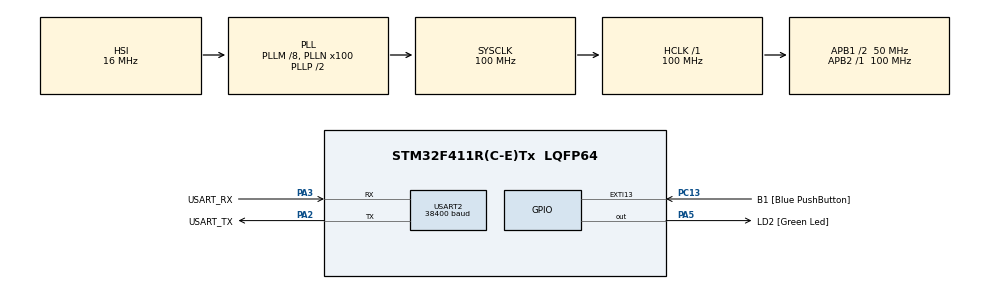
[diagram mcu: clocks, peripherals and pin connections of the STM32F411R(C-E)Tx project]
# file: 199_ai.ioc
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Mcu.Family=STM32F4
Mcu.Name=STM32F411R(C-E)Tx
Mcu.Package=LQFP64
NVIC.PriorityGroup=NVIC_PRIORITYGROUP_0
PA13.GPIO_Label=TMS
PA13.Mode=Serial_Wire
PA13.Signal=SYS_JTMS-SWDIO
PA14.GPIO_Label=TCK
PA14.Mode=Serial_Wire
PA14.Signal=SYS_JTCK-SWCLK
PA2.GPIO_Label=USART_TX
PA2.Mode=Asynchronous
PA2.Signal=USART2_TX
PA3.GPIO_Label=USART_RX
PA3.Mode=Asynchronous
PA3.Signal=USART2_RX
PA5.GPIO_Label=LD2 [Green Led]
PA5.Signal=GPIO_Output
PB3.GPIO_Label=SWO
PB3.Signal=SYS_JTDO-SWO
PC13-ANTI_TAMP.GPIO_Label=B1 [Blue PushButton]
PC13-ANTI_TAMP.GPIO_ModeDefaultEXTI=GPIO_MODE_IT_FALLING
PC13-ANTI_TAMP.Signal=GPXTI13
PC14-OSC32_IN.Mode=LSE-External-Oscillator
PC14-OSC32_IN.Signal=RCC_OSC32_IN
PC15-OSC32_OUT.Mode=LSE-External-Oscillator
PC15-OSC32_OUT.Signal=RCC_OSC32_OUT
PH0\ -\ OSC_IN.Mode=HSE-External-Clock-Source
PH0\ -\ OSC_IN.Signal=RCC_OSC_IN
PH1\ -\ OSC_OUT.Mode=HSE-External-Clock-Source
PH1\ -\ OSC_OUT.Signal=RCC_OSC_OUT
ProjectManager.HeapSize=0x800
ProjectManager.StackSize=0x800
ProjectManager.TargetToolchain=STM32CubeIDE
RCC.48MHZClocksFreq_Value=28571428.57142857
RCC.AHBFreq_Value=100000000
RCC.APB1CLKDivider=RCC_HCLK_DIV2
RCC.APB1Freq_Value=50000000
RCC.APB1TimFreq_Value=100000000
RCC.APB2Freq_Value=100000000
RCC.APB2TimFreq_Value=100000000
RCC.CortexFreq_Value=100000000
RCC.FLatency-AdvancedSettings=FLASH_LATENCY_3
RCC.HCLKFreq_Value=100000000
RCC.HSE_VALUE=8000000
RCC.HSI_VALUE=16000000
RCC.PLLM=8
RCC.PLLMUL=RCC_PLL_MUL9
RCC.PLLN=100
RCC.PLLQ=7
RCC.RCC_PLLsource_Clock_Source_FROM_HSE=RCC_HSE_PREDIV_DIV2
RCC.SYSCLKFreq_VALUE=100000000
RCC.SYSCLKSource=RCC_SYSCLKSOURCE_PLLCLK
RCC.SYSCLKSourceVirtual=RCC_SYSCLKSOURCE_PLLCLK
RCC.VCOOutputFreq_Value=200000000
STMicroelectronics.X-CUBE-AI.10.2.0.ActivationBufferSizeList=828,828,828,828,828,828,828,828,1828,9512
STMicroelectronics.X-CUBE-AI.10.2.0.ActivationBuffers=pool0;pool0;pool0;pool0;pool0;pool0;pool0;pool0;pool0;pool0
STMicroelectronics.X-CUBE-AI.10.2.0.ActivationNames=pool0
STMicroelectronics.X-CUBE-AI.10.2.0.ActivationSizes=AI_CLF_SVC_DATA_ACTIVATION_1_SIZE
STMicroelectronics.X-CUBE-AI.10.2.0.HeapSize=0x800
STMicroelectronics.X-CUBE-AI.10.2.0.InternalRamActivationBufferMaxSize=AI_CLF_SVC_DATA_ACTIVATIONS_SIZE
STMicroelectronics.X-CUBE-AI.10.2.0.LatestDirectoryUsed-305259f2fd37ff8008e00a22df27e67728cca710dc6ef4e3d571cc33ada98516=/Users/moreypiatos/clf_models
STMicroelectronics.X-CUBE-AI.10.2.0.LatestDirectoryUsed-3b9432cef57333e2fce42645de9fa6accc22cd3370c43e91af8a09cc2e12b6d0=/Users/moreypiatos/calib_models
STMicroelectronics.X-CUBE-AI.10.2.0.LatestDirectoryUsed-6ca1935a49a4da6e01bf238fb27ecaf26e8ca2d9e389be3823a9b33aaacc7297=/Users/moreypiatos/clf_models
STMicroelectronics.X-CUBE-AI.10.2.0.LatestDirectoryUsed-7671ea12f1d04baeb240033d8f5cd9409b01ff86af3cf0a621d321669e09001b=/Users/moreypiatos/calib_models
STMicroelectronics.X-CUBE-AI.10.2.0.LatestDirectoryUsed-7d43070af29f996a0a2170734140e68769b23ad1afede97f22b931777e6c3852=/Users/moreypiatos/calib_models
STMicroelectronics.X-CUBE-AI.10.2.0.LatestDirectoryUsed-9e236fa1b805f769fb9c70331a6bc76a15f23170d1950d0cced9c493874ee895=/Users/moreypiatos/calib_models
STMicroelectronics.X-CUBE-AI.10.2.0.LatestDirectoryUsed-ab577c9bdfed1ba00724bdd21e1b13f1ba22613db02f03b8adc4d8ee03ad864e=/Users/moreypiatos/calib_models
STMicroelectronics.X-CUBE-AI.10.2.0.LatestDirectoryUsed-dea79e7e62a325472eb47c30a879b901656b1d966f9a78109aa8b224cbf98a9d=/Users/moreypiatos/calib_models
STMicroelectronics.X-CUBE-AI.10.2.0.LatestDirectoryUsed-df82797f878501d5734eb837a36a36d91eae67c62164e25bef60e4b155da9e3b=/Users/moreypiatos/calib_models
STMicroelectronics.X-CUBE-AI.10.2.0.LatestDirectoryUsed-f4f45892b08308412d9f5e841690e3b6e5c3a98e51e2c46ba08ce80a98d34c7c=/Users/moreypiatos/calib_models
STMicroelectronics.X-CUBE-AI.10.2.0.MaximumNumberOfInputLayer=1
STMicroelectronics.X-CUBE-AI.10.2.0.MaximumNumberOfOutputLayer=1
STMicroelectronics.X-CUBE-AI.10.2.0.MaximumSizeOfInputLayer=1
STMicroelectronics.X-CUBE-AI.10.2.0.MaximumSizeOfOutputLayer=1,1
STMicroelectronics.X-CUBE-AI.10.2.0.ModelActualCompression-305259f2fd37ff8008e00a22df27e67728cca710dc6ef4e3d571cc33ada98516=0.0
STMicroelectronics.X-CUBE-AI.10.2.0.ModelActualCompression-3b9432cef57333e2fce42645de9fa6accc22cd3370c43e91af8a09cc2e12b6d0=0.0
STMicroelectronics.X-CUBE-AI.10.2.0.ModelActualCompression-6ca1935a49a4da6e01bf238fb27ecaf26e8ca2d9e389be3823a9b33aaacc7297=0.0
STMicroelectronics.X-CUBE-AI.10.2.0.ModelActualCompression-7671ea12f1d04baeb240033d8f5cd9409b01ff86af3cf0a621d321669e09001b=0.0
STMicroelectronics.X-CUBE-AI.10.2.0.ModelActualCompression-7d43070af29f996a0a2170734140e68769b23ad1afede97f22b931777e6c3852=0.0
STMicroelectronics.X-CUBE-AI.10.2.0.ModelActualCompression-9e236fa1b805f769fb9c70331a6bc76a15f23170d1950d0cced9c493874ee895=0.0
STMicroelectronics.X-CUBE-AI.10.2.0.ModelActualCompression-ab577c9bdfed1ba00724bdd21e1b13f1ba22613db02f03b8adc4d8ee03ad864e=0.0
STMicroelectronics.X-CUBE-AI.10.2.0.ModelActualCompression-dea79e7e62a325472eb47c30a879b901656b1d966f9a78109aa8b224cbf98a9d=0.0
STMicroelectronics.X-CUBE-AI.10.2.0.ModelActualCompression-df82797f878501d5734eb837a36a36d91eae67c62164e25bef60e4b155da9e3b=0.0
STMicroelectronics.X-CUBE-AI.10.2.0.ModelActualCompression-f4f45892b08308412d9f5e841690e3b6e5c3a98e51e2c46ba08ce80a98d34c7c=0.0
STMicroelectronics.X-CUBE-AI.10.2.0.ModelCompression-305259f2fd37ff8008e00a22df27e67728cca710dc6ef4e3d571cc33ada98516=None
STMicroelectronics.X-CUBE-AI.10.2.0.ModelCompression-3b9432cef57333e2fce42645de9fa6accc22cd3370c43e91af8a09cc2e12b6d0=None
STMicroelectronics.X-CUBE-AI.10.2.0.ModelCompression-6ca1935a49a4da6e01bf238fb27ecaf26e8ca2d9e389be3823a9b33aaacc7297=None
STMicroelectronics.X-CUBE-AI.10.2.0.ModelCompression-7671ea12f1d04baeb240033d8f5cd9409b01ff86af3cf0a621d321669e09001b=None
STMicroelectronics.X-CUBE-AI.10.2.0.ModelCompression-7d43070af29f996a0a2170734140e68769b23ad1afede97f22b931777e6c3852=None
STMicroelectronics.X-CUBE-AI.10.2.0.ModelCompression-9e236fa1b805f769fb9c70331a6bc76a15f23170d1950d0cced9c493874ee895=None
STMicroelectronics.X-CUBE-AI.10.2.0.ModelCompression-ab577c9bdfed1ba00724bdd21e1b13f1ba22613db02f03b8adc4d8ee03ad864e=None
STMicroelectronics.X-CUBE-AI.10.2.0.ModelCompression-dea79e7e62a325472eb47c30a879b901656b1d966f9a78109aa8b224cbf98a9d=None
STMicroelectronics.X-CUBE-AI.10.2.0.ModelCompression-df82797f878501d5734eb837a36a36d91eae67c62164e25bef60e4b155da9e3b=None
STMicroelectronics.X-CUBE-AI.10.2.0.ModelCompression-f4f45892b08308412d9f5e841690e3b6e5c3a98e51e2c46ba08ce80a98d34c7c=None
STMicroelectronics.X-CUBE-AI.10.2.0.ModelFlashOccupation-305259f2fd37ff8008e00a22df27e67728cca710dc6ef4e3d571cc33ada98516=65316
STMicroelectronics.X-CUBE-AI.10.2.0.ModelFlashOccupation-3b9432cef57333e2fce42645de9fa6accc22cd3370c43e91af8a09cc2e12b6d0=7072
STMicroelectronics.X-CUBE-AI.10.2.0.ModelFlashOccupation-6ca1935a49a4da6e01bf238fb27ecaf26e8ca2d9e389be3823a9b33aaacc7297=182160
STMicroelectronics.X-CUBE-AI.10.2.0.ModelFlashOccupation-7671ea12f1d04baeb240033d8f5cd9409b01ff86af3cf0a621d321669e09001b=7072
STMicroelectronics.X-CUBE-AI.10.2.0.ModelFlashOccupation-7d43070af29f996a0a2170734140e68769b23ad1afede97f22b931777e6c3852=7072
STMicroelectronics.X-CUBE-AI.10.2.0.ModelFlashOccupation-9e236fa1b805f769fb9c70331a6bc76a15f23170d1950d0cced9c493874ee895=7072
STMicroelectronics.X-CUBE-AI.10.2.0.ModelFlashOccupation-ab577c9bdfed1ba00724bdd21e1b13f1ba22613db02f03b8adc4d8ee03ad864e=7072
STMicroelectronics.X-CUBE-AI.10.2.0.ModelFlashOccupation-dea79e7e62a325472eb47c30a879b901656b1d966f9a78109aa8b224cbf98a9d=7072
STMicroelectronics.X-CUBE-AI.10.2.0.ModelFlashOccupation-df82797f878501d5734eb837a36a36d91eae67c62164e25bef60e4b155da9e3b=7072
STMicroelectronics.X-CUBE-AI.10.2.0.ModelFlashOccupation-f4f45892b08308412d9f5e841690e3b6e5c3a98e51e2c46ba08ce80a98d34c7c=7072
STMicroelectronics.X-CUBE-AI.10.2.0.ModelHashList=7d43070af29f996a0a2170734140e68769b23ad1afede97f22b931777e6c3852;dea79e7e62a325472eb47c30a879b901656b1d966f9a78109aa8b224cbf98a9d;7671ea12f1d04baeb240033d8f5cd9409b01ff86af3cf0a621d321669e09001b;ab577c9bdfed1ba00724bdd21e1b13f1ba22613db02f03b8adc4d8ee03ad864e;df82797f878501d5734eb837a36a36d91eae67c62164e25bef60e4b155da9e3b;3b9432cef57333e2fce42645de9fa6accc22cd3370c43e91af8a09cc2e12b6d0;f4f45892b08308412d9f5e841690e3b6e5c3a98e51e2c46ba08ce80a98d34c7c;9e236fa1b805f769fb9c70331a6bc76a15f23170d1950d0cced9c493874ee895;6ca1935a49a4da6e01bf238fb27ecaf26e8ca2d9e389be3823a9b33aaacc7297
STMicroelectronics.X-CUBE-AI.10.2.0.ModelKind-305259f2fd37ff8008e00a22df27e67728cca710dc6ef4e3d571cc33ada98516=ONNX
STMicroelectronics.X-CUBE-AI.10.2.0.ModelKind-3b9432cef57333e2fce42645de9fa6accc22cd3370c43e91af8a09cc2e12b6d0=TFLITE
STMicroelectronics.X-CUBE-AI.10.2.0.ModelKind-6ca1935a49a4da6e01bf238fb27ecaf26e8ca2d9e389be3823a9b33aaacc7297=ONNX
STMicroelectronics.X-CUBE-AI.10.2.0.ModelKind-7671ea12f1d04baeb240033d8f5cd9409b01ff86af3cf0a621d321669e09001b=TFLITE
STMicroelectronics.X-CUBE-AI.10.2.0.ModelKind-7d43070af29f996a0a2170734140e68769b23ad1afede97f22b931777e6c3852=TFLITE
STMicroelectronics.X-CUBE-AI.10.2.0.ModelKind-9e236fa1b805f769fb9c70331a6bc76a15f23170d1950d0cced9c493874ee895=TFLITE
STMicroelectronics.X-CUBE-AI.10.2.0.ModelKind-ab577c9bdfed1ba00724bdd21e1b13f1ba22613db02f03b8adc4d8ee03ad864e=TFLITE
STMicroelectronics.X-CUBE-AI.10.2.0.ModelKind-dea79e7e62a325472eb47c30a879b901656b1d966f9a78109aa8b224cbf98a9d=TFLITE
STMicroelectronics.X-CUBE-AI.10.2.0.ModelKind-df82797f878501d5734eb837a36a36d91eae67c62164e25bef60e4b155da9e3b=TFLITE
STMicroelectronics.X-CUBE-AI.10.2.0.ModelKind-f4f45892b08308412d9f5e841690e3b6e5c3a98e51e2c46ba08ce80a98d34c7c=TFLITE
STMicroelectronics.X-CUBE-AI.10.2.0.ModelMacc-305259f2fd37ff8008e00a22df27e67728cca710dc6ef4e3d571cc33ada98516=44060
STMicroelectronics.X-CUBE-AI.10.2.0.ModelMacc-3b9432cef57333e2fce42645de9fa6accc22cd3370c43e91af8a09cc2e12b6d0=2
STMicroelectronics.X-CUBE-AI.10.2.0.ModelMacc-6ca1935a49a4da6e01bf238fb27ecaf26e8ca2d9e389be3823a9b33aaacc7297=1099
STMicroelectronics.X-CUBE-AI.10.2.0.ModelMacc-7671ea12f1d04baeb240033d8f5cd9409b01ff86af3cf0a621d321669e09001b=2
STMicroelectronics.X-CUBE-AI.10.2.0.ModelMacc-7d43070af29f996a0a2170734140e68769b23ad1afede97f22b931777e6c3852=2
STMicroelectronics.X-CUBE-AI.10.2.0.ModelMacc-9e236fa1b805f769fb9c70331a6bc76a15f23170d1950d0cced9c493874ee895=2
STMicroelectronics.X-CUBE-AI.10.2.0.ModelMacc-ab577c9bdfed1ba00724bdd21e1b13f1ba22613db02f03b8adc4d8ee03ad864e=2
STMicroelectronics.X-CUBE-AI.10.2.0.ModelMacc-dea79e7e62a325472eb47c30a879b901656b1d966f9a78109aa8b224cbf98a9d=2
STMicroelectronics.X-CUBE-AI.10.2.0.ModelMacc-df82797f878501d5734eb837a36a36d91eae67c62164e25bef60e4b155da9e3b=2
STMicroelectronics.X-CUBE-AI.10.2.0.ModelMacc-f4f45892b08308412d9f5e841690e3b6e5c3a98e51e2c46ba08ce80a98d34c7c=2
STMicroelectronics.X-CUBE-AI.10.2.0.ModelName-305259f2fd37ff8008e00a22df27e67728cca710dc6ef4e3d571cc33ada98516=clf_svc
STMicroelectronics.X-CUBE-AI.10.2.0.ModelName-3b9432cef57333e2fce42645de9fa6accc22cd3370c43e91af8a09cc2e12b6d0=ch600
STMicroelectronics.X-CUBE-AI.10.2.0.ModelName-6ca1935a49a4da6e01bf238fb27ecaf26e8ca2d9e389be3823a9b33aaacc7297=clf_rf
STMicroelectronics.X-CUBE-AI.10.2.0.ModelName-7671ea12f1d04baeb240033d8f5cd9409b01ff86af3cf0a621d321669e09001b=ch515
STMicroelectronics.X-CUBE-AI.10.2.0.ModelName-7d43070af29f996a0a2170734140e68769b23ad1afede97f22b931777e6c3852=ch450
STMicroelectronics.X-CUBE-AI.10.2.0.ModelName-9e236fa1b805f769fb9c70331a6bc76a15f23170d1950d0cced9c493874ee895=ch690
STMicroelectronics.X-CUBE-AI.10.2.0.ModelName-ab577c9bdfed1ba00724bdd21e1b13f1ba22613db02f03b8adc4d8ee03ad864e=ch550
STMicroelectronics.X-CUBE-AI.10.2.0.ModelName-dea79e7e62a325472eb47c30a879b901656b1d966f9a78109aa8b224cbf98a9d=ch475
STMicroelectronics.X-CUBE-AI.10.2.0.ModelName-df82797f878501d5734eb837a36a36d91eae67c62164e25bef60e4b155da9e3b=ch555
STMicroelectronics.X-CUBE-AI.10.2.0.ModelName-f4f45892b08308412d9f5e841690e3b6e5c3a98e51e2c46ba08ce80a98d34c7c=ch640
STMicroelectronics.X-CUBE-AI.10.2.0.ModelNameList=ch450,ch475,ch515,ch550,ch555,ch600,ch640,ch690,clf_rf
STMicroelectronics.X-CUBE-AI.10.2.0.ModelRamOccupation-305259f2fd37ff8008e00a22df27e67728cca710dc6ef4e3d571cc33ada98516=9512
STMicroelectronics.X-CUBE-AI.10.2.0.ModelRamOccupation-3b9432cef57333e2fce42645de9fa6accc22cd3370c43e91af8a09cc2e12b6d0=828
STMicroelectronics.X-CUBE-AI.10.2.0.ModelRamOccupation-6ca1935a49a4da6e01bf238fb27ecaf26e8ca2d9e389be3823a9b33aaacc7297=1828
STMicroelectronics.X-CUBE-AI.10.2.0.ModelRamOccupation-7671ea12f1d04baeb240033d8f5cd9409b01ff86af3cf0a621d321669e09001b=828
STMicroelectronics.X-CUBE-AI.10.2.0.ModelRamOccupation-7d43070af29f996a0a2170734140e68769b23ad1afede97f22b931777e6c3852=828
STMicroelectronics.X-CUBE-AI.10.2.0.ModelRamOccupation-9e236fa1b805f769fb9c70331a6bc76a15f23170d1950d0cced9c493874ee895=828
STMicroelectronics.X-CUBE-AI.10.2.0.ModelRamOccupation-ab577c9bdfed1ba00724bdd21e1b13f1ba22613db02f03b8adc4d8ee03ad864e=828
STMicroelectronics.X-CUBE-AI.10.2.0.ModelRamOccupation-dea79e7e62a325472eb47c30a879b901656b1d966f9a78109aa8b224cbf98a9d=828
STMicroelectronics.X-CUBE-AI.10.2.0.ModelRamOccupation-df82797f878501d5734eb837a36a36d91eae67c62164e25bef60e4b155da9e3b=828
STMicroelectronics.X-CUBE-AI.10.2.0.ModelRamOccupation-f4f45892b08308412d9f5e841690e3b6e5c3a98e51e2c46ba08ce80a98d34c7c=828
STMicroelectronics.X-CUBE-AI.10.2.0.ModelStructureFile-305259f2fd37ff8008e00a22df27e67728cca710dc6ef4e3d571cc33ada98516=/Users/moreypiatos/clf_models/SVC.onnx
STMicroelectronics.X-CUBE-AI.10.2.0.ModelStructureFile-3b9432cef57333e2fce42645de9fa6accc22cd3370c43e91af8a09cc2e12b6d0=/Users/moreypiatos/calib_models/ch600.tflite
STMicroelectronics.X-CUBE-AI.10.2.0.ModelStructureFile-6ca1935a49a4da6e01bf238fb27ecaf26e8ca2d9e389be3823a9b33aaacc7297=/Users/moreypiatos/clf_models/RandomForest.onnx
STMicroelectronics.X-CUBE-AI.10.2.0.ModelStructureFile-7671ea12f1d04baeb240033d8f5cd9409b01ff86af3cf0a621d321669e09001b=/Users/moreypiatos/calib_models/ch515.tflite
STMicroelectronics.X-CUBE-AI.10.2.0.ModelStructureFile-7d43070af29f996a0a2170734140e68769b23ad1afede97f22b931777e6c3852=/Users/moreypiatos/calib_models/ch450.tflite
STMicroelectronics.X-CUBE-AI.10.2.0.ModelStructureFile-9e236fa1b805f769fb9c70331a6bc76a15f23170d1950d0cced9c493874ee895=/Users/moreypiatos/calib_models/ch690.tflite
STMicroelectronics.X-CUBE-AI.10.2.0.ModelStructureFile-ab577c9bdfed1ba00724bdd21e1b13f1ba22613db02f03b8adc4d8ee03ad864e=/Users/moreypiatos/calib_models/ch550.tflite
STMicroelectronics.X-CUBE-AI.10.2.0.ModelStructureFile-dea79e7e62a325472eb47c30a879b901656b1d966f9a78109aa8b224cbf98a9d=/Users/moreypiatos/calib_models/ch475.tflite
STMicroelectronics.X-CUBE-AI.10.2.0.ModelStructureFile-df82797f878501d5734eb837a36a36d91eae67c62164e25bef60e4b155da9e3b=/Users/moreypiatos/calib_models/ch555.tflite
STMicroelectronics.X-CUBE-AI.10.2.0.ModelStructureFile-f4f45892b08308412d9f5e841690e3b6e5c3a98e51e2c46ba08ce80a98d34c7c=/Users/moreypiatos/calib_models/ch640.tflite
STMicroelectronics.X-CUBE-AI.10.2.0.ModelType-305259f2fd37ff8008e00a22df27e67728cca710dc6ef4e3d571cc33ada98516=STM32Cube.AI MCU runtime
STMicroelectronics.X-CUBE-AI.10.2.0.ModelType-3b9432cef57333e2fce42645de9fa6accc22cd3370c43e91af8a09cc2e12b6d0=STM32Cube.AI MCU runtime
STMicroelectronics.X-CUBE-AI.10.2.0.ModelType-6ca1935a49a4da6e01bf238fb27ecaf26e8ca2d9e389be3823a9b33aaacc7297=STM32Cube.AI MCU runtime
STMicroelectronics.X-CUBE-AI.10.2.0.ModelType-7671ea12f1d04baeb240033d8f5cd9409b01ff86af3cf0a621d321669e09001b=STM32Cube.AI MCU runtime
STMicroelectronics.X-CUBE-AI.10.2.0.ModelType-7d43070af29f996a0a2170734140e68769b23ad1afede97f22b931777e6c3852=STM32Cube.AI MCU runtime
STMicroelectronics.X-CUBE-AI.10.2.0.ModelType-9e236fa1b805f769fb9c70331a6bc76a15f23170d1950d0cced9c493874ee895=STM32Cube.AI MCU runtime
STMicroelectronics.X-CUBE-AI.10.2.0.ModelType-ab577c9bdfed1ba00724bdd21e1b13f1ba22613db02f03b8adc4d8ee03ad864e=STM32Cube.AI MCU runtime
STMicroelectronics.X-CUBE-AI.10.2.0.ModelType-dea79e7e62a325472eb47c30a879b901656b1d966f9a78109aa8b224cbf98a9d=STM32Cube.AI MCU runtime
STMicroelectronics.X-CUBE-AI.10.2.0.ModelType-df82797f878501d5734eb837a36a36d91eae67c62164e25bef60e4b155da9e3b=STM32Cube.AI MCU runtime
STMicroelectronics.X-CUBE-AI.10.2.0.ModelType-f4f45892b08308412d9f5e841690e3b6e5c3a98e51e2c46ba08ce80a98d34c7c=STM32Cube.AI MCU runtime
STMicroelectronics.X-CUBE-AI.10.2.0.ReadyForCodeGeneration=true
STMicroelectronics.X-CUBE-AI.10.2.0.StackSize=0x800
STMicroelectronics.X-CUBE-AI.10.2.0.WorkingBufferStartAddrList=0xFFFFFFFF,0xFFFFFFFF,0xFFFFFFFF,0xFFFFFFFF,0xFFFFFFFF,0xFFFFFFFF,0xFFFFFFFF,0xFFFFFFFF,0xFFFFFFFF
STMicroelectronics.X-CUBE-AI.10.2.0.XAaCUBEAaAICcArtificialOoIntelligenceJjCore=true
STMicroelectronics.X-CUBE-AI.10.2.0.copyWeightToRam=false
STMicroelectronics.X-CUBE-AI.10.2.0.copyWeightToRam-305259f2fd37ff8008e00a22df27e67728cca710dc6ef4e3d571cc33ada98516=false
STMicroelectronics.X-CUBE-AI.10.2.0.copyWeightToRam-3b9432cef57333e2fce42645de9fa6accc22cd3370c43e91af8a09cc2e12b6d0=false
STMicroelectronics.X-CUBE-AI.10.2.0.copyWeightToRam-6ca1935a49a4da6e01bf238fb27ecaf26e8ca2d9e389be3823a9b33aaacc7297=false
STMicroelectronics.X-CUBE-AI.10.2.0.copyWeightToRam-7671ea12f1d04baeb240033d8f5cd9409b01ff86af3cf0a621d321669e09001b=false
STMicroelectronics.X-CUBE-AI.10.2.0.copyWeightToRam-7d43070af29f996a0a2170734140e68769b23ad1afede97f22b931777e6c3852=false
STMicroelectronics.X-CUBE-AI.10.2.0.copyWeightToRam-9e236fa1b805f769fb9c70331a6bc76a15f23170d1950d0cced9c493874ee895=false
STMicroelectronics.X-CUBE-AI.10.2.0.copyWeightToRam-ab577c9bdfed1ba00724bdd21e1b13f1ba22613db02f03b8adc4d8ee03ad864e=false
STMicroelectronics.X-CUBE-AI.10.2.0.copyWeightToRam-dea79e7e62a325472eb47c30a879b901656b1d966f9a78109aa8b224cbf98a9d=false
STMicroelectronics.X-CUBE-AI.10.2.0.copyWeightToRam-df82797f878501d5734eb837a36a36d91eae67c62164e25bef60e4b155da9e3b=false
STMicroelectronics.X-CUBE-AI.10.2.0.copyWeightToRam-f4f45892b08308412d9f5e841690e3b6e5c3a98e51e2c46ba08ce80a98d34c7c=false
STMicroelectronics.X-CUBE-AI.10.2.0.customLayerConfigEnabled=false
STMicroelectronics.X-CUBE-AI.10.2.0.customLayerConfigEnabled-305259f2fd37ff8008e00a22df27e67728cca710dc6ef4e3d571cc33ada98516=false
STMicroelectronics.X-CUBE-AI.10.2.0.customLayerConfigEnabled-3b9432cef57333e2fce42645de9fa6accc22cd3370c43e91af8a09cc2e12b6d0=false
STMicroelectronics.X-CUBE-AI.10.2.0.customLayerConfigEnabled-6ca1935a49a4da6e01bf238fb27ecaf26e8ca2d9e389be3823a9b33aaacc7297=false
STMicroelectronics.X-CUBE-AI.10.2.0.customLayerConfigEnabled-7671ea12f1d04baeb240033d8f5cd9409b01ff86af3cf0a621d321669e09001b=false
STMicroelectronics.X-CUBE-AI.10.2.0.customLayerConfigEnabled-7d43070af29f996a0a2170734140e68769b23ad1afede97f22b931777e6c3852=false
STMicroelectronics.X-CUBE-AI.10.2.0.customLayerConfigEnabled-9e236fa1b805f769fb9c70331a6bc76a15f23170d1950d0cced9c493874ee895=false
STMicroelectronics.X-CUBE-AI.10.2.0.customLayerConfigEnabled-ab577c9bdfed1ba00724bdd21e1b13f1ba22613db02f03b8adc4d8ee03ad864e=false
STMicroelectronics.X-CUBE-AI.10.2.0.customLayerConfigEnabled-dea79e7e62a325472eb47c30a879b901656b1d966f9a78109aa8b224cbf98a9d=false
STMicroelectronics.X-CUBE-AI.10.2.0.customLayerConfigEnabled-df82797f878501d5734eb837a36a36d91eae67c62164e25bef60e4b155da9e3b=false
STMicroelectronics.X-CUBE-AI.10.2.0.customLayerConfigEnabled-f4f45892b08308412d9f5e841690e3b6e5c3a98e51e2c46ba08ce80a98d34c7c=false
STMicroelectronics.X-CUBE-AI.10.2.0.noOnnxIoTranspose=false
STMicroelectronics.X-CUBE-AI.10.2.0.noOnnxIoTranspose-305259f2fd37ff8008e00a22df27e67728cca710dc6ef4e3d571cc33ada98516=false
STMicroelectronics.X-CUBE-AI.10.2.0.noOnnxIoTranspose-3b9432cef57333e2fce42645de9fa6accc22cd3370c43e91af8a09cc2e12b6d0=false
STMicroelectronics.X-CUBE-AI.10.2.0.noOnnxIoTranspose-6ca1935a49a4da6e01bf238fb27ecaf26e8ca2d9e389be3823a9b33aaacc7297=false
STMicroelectronics.X-CUBE-AI.10.2.0.noOnnxIoTranspose-7671ea12f1d04baeb240033d8f5cd9409b01ff86af3cf0a621d321669e09001b=false
STMicroelectronics.X-CUBE-AI.10.2.0.noOnnxIoTranspose-7d43070af29f996a0a2170734140e68769b23ad1afede97f22b931777e6c3852=false
STMicroelectronics.X-CUBE-AI.10.2.0.noOnnxIoTranspose-9e236fa1b805f769fb9c70331a6bc76a15f23170d1950d0cced9c493874ee895=false
STMicroelectronics.X-CUBE-AI.10.2.0.noOnnxIoTranspose-ab577c9bdfed1ba00724bdd21e1b13f1ba22613db02f03b8adc4d8ee03ad864e=false
STMicroelectronics.X-CUBE-AI.10.2.0.noOnnxIoTranspose-dea79e7e62a325472eb47c30a879b901656b1d966f9a78109aa8b224cbf98a9d=false
STMicroelectronics.X-CUBE-AI.10.2.0.noOnnxIoTranspose-df82797f878501d5734eb837a36a36d91eae67c62164e25bef60e4b155da9e3b=false
STMicroelectronics.X-CUBE-AI.10.2.0.noOnnxIoTranspose-f4f45892b08308412d9f5e841690e3b6e5c3a98e51e2c46ba08ce80a98d34c7c=false
STMicroelectronics.X-CUBE-AI.10.2.0.outputDirectory=/Users/moreypiatos/.stm32cubemx/clf_svc_output
STMicroelectronics.X-CUBE-AI.10.2.0.useInputAllocation=true
STMicroelectronics.X-CUBE-AI.10.2.0.useInputAllocation-305259f2fd37ff8008e00a22df27e67728cca710dc6ef4e3d571cc33ada98516=true
STMicroelectronics.X-CUBE-AI.10.2.0.useInputAllocation-3b9432cef57333e2fce42645de9fa6accc22cd3370c43e91af8a09cc2e12b6d0=true
STMicroelectronics.X-CUBE-AI.10.2.0.useInputAllocation-6ca1935a49a4da6e01bf238fb27ecaf26e8ca2d9e389be3823a9b33aaacc7297=true
STMicroelectronics.X-CUBE-AI.10.2.0.useInputAllocation-7671ea12f1d04baeb240033d8f5cd9409b01ff86af3cf0a621d321669e09001b=true
STMicroelectronics.X-CUBE-AI.10.2.0.useInputAllocation-7d43070af29f996a0a2170734140e68769b23ad1afede97f22b931777e6c3852=true
STMicroelectronics.X-CUBE-AI.10.2.0.useInputAllocation-9e236fa1b805f769fb9c70331a6bc76a15f23170d1950d0cced9c493874ee895=true
STMicroelectronics.X-CUBE-AI.10.2.0.useInputAllocation-ab577c9bdfed1ba00724bdd21e1b13f1ba22613db02f03b8adc4d8ee03ad864e=true
STMicroelectronics.X-CUBE-AI.10.2.0.useInputAllocation-dea79e7e62a325472eb47c30a879b901656b1d966f9a78109aa8b224cbf98a9d=true
STMicroelectronics.X-CUBE-AI.10.2.0.useInputAllocation-df82797f878501d5734eb837a36a36d91eae67c62164e25bef60e4b155da9e3b=true
STMicroelectronics.X-CUBE-AI.10.2.0.useInputAllocation-f4f45892b08308412d9f5e841690e3b6e5c3a98e51e2c46ba08ce80a98d34c7c=true
STMicroelectronics.X-CUBE-AI.10.2.0.useOutputAllocation=true
STMicroelectronics.X-CUBE-AI.10.2.0.useOutputAllocation-305259f2fd37ff8008e00a22df27e67728cca710dc6ef4e3d571cc33ada98516=true
STMicroelectronics.X-CUBE-AI.10.2.0.useOutputAllocation-3b9432cef57333e2fce42645de9fa6accc22cd3370c43e91af8a09cc2e12b6d0=true
STMicroelectronics.X-CUBE-AI.10.2.0.useOutputAllocation-6ca1935a49a4da6e01bf238fb27ecaf26e8ca2d9e389be3823a9b33aaacc7297=true
STMicroelectronics.X-CUBE-AI.10.2.0.useOutputAllocation-7671ea12f1d04baeb240033d8f5cd9409b01ff86af3cf0a621d321669e09001b=true
STMicroelectronics.X-CUBE-AI.10.2.0.useOutputAllocation-7d43070af29f996a0a2170734140e68769b23ad1afede97f22b931777e6c3852=true
STMicroelectronics.X-CUBE-AI.10.2.0.useOutputAllocation-9e236fa1b805f769fb9c70331a6bc76a15f23170d1950d0cced9c493874ee895=true
STMicroelectronics.X-CUBE-AI.10.2.0.useOutputAllocation-ab577c9bdfed1ba00724bdd21e1b13f1ba22613db02f03b8adc4d8ee03ad864e=true
STMicroelectronics.X-CUBE-AI.10.2.0.useOutputAllocation-dea79e7e62a325472eb47c30a879b901656b1d966f9a78109aa8b224cbf98a9d=true
STMicroelectronics.X-CUBE-AI.10.2.0.useOutputAllocation-df82797f878501d5734eb837a36a36d91eae67c62164e25bef60e4b155da9e3b=true
STMicroelectronics.X-CUBE-AI.10.2.0.useOutputAllocation-f4f45892b08308412d9f5e841690e3b6e5c3a98e51e2c46ba08ce80a98d34c7c=true
TIM11.Prescaler=100-1
USART2.BaudRate=38400
USART2.VirtualMode=VM_ASYNC
VP_STMicroelectronics.X-CUBE-AI_VS_ArtificialOoIntelligenceJjXAaCUBEAaAI_10.2.0.Mode=ArtificialOoIntelligenceJjXAaCUBEAaAI
VP_TIM11_VS_ClockSourceINT.Mode=Enable_Timer
board=NUCLEO-F411RE

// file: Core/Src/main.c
/* USER CODE BEGIN Header */
/**
  ******************************************************************************
  * @file           : main.c
  * @brief          : Main program body
  ******************************************************************************
  * @attention
  *
  * Copyright (c) 2025 STMicroelectronics.
  * All rights reserved.
  *
  * This software is licensed under terms that can be found in the LICENSE file
  * in the root directory of this software component.
  * If no LICENSE file comes with this software, it is provided AS-IS.
  *
  ******************************************************************************
  */
/* USER CODE END Header */
#include "main.h"
#include "tim.h"
#include "gpio.h"

/* USER CODE BEGIN Includes */
#include "usart.h"
#include "stdio.h"
#include "stdarg.h"
#include "stdint.h"
#include "string.h"

#include "ai_platform.h"
#include "ai_datatypes_defines.h"

#include "ai_platform_interface.h"
#include "ai_math_helpers.h"

#include "core_common.h"
#include "core_convert.h"

#include "layers.h"

#include "ch450.h"
#include "ch450_data.h"
#include "ch475.h"
#include "ch475_data.h"
#include "ch515.h"
#include "ch515_data.h"
#include "ch550.h"
#include "ch550_data.h"
#include "ch555.h"
#include "ch555_data.h"
#include "ch600.h"
#include "ch600_data.h"
#include "ch640.h"
#include "ch640_data.h"
#include "ch690.h"
#include "ch690_data.h"
#include "clf_rf.h"
#include "clf_rf_data.h"
#include "clf_svc.h"
#include "clf_svc_data.h"
#include "clf_xgb.h" // NOT generated by X-CUBE-AI

#include "test_data.h" // contains input_data_f
/* USER CODE END Includes */

/* USER CODE BEGIN PD */
#define N_SAMPLES 315
#define N_CHANNELS 8
#define N_FUNC_GROUPS 3
/* USER CODE END PD */

/* USER CODE BEGIN PV */
/* IO buffers ----------------------------------------------------------------*/
// for the calibration models
ai_float* data_ins[8] = {NULL, NULL, NULL, NULL, NULL, NULL, NULL, NULL};
ai_float* data_outs[8] = {NULL, NULL, NULL, NULL, NULL, NULL, NULL, NULL};

// for the classification models
AI_ALIGNED(32) ai_i8 ins_rf_1[AI_CLF_RF_IN_1_SIZE_BYTES];
AI_ALIGNED(32) ai_i8 ins_svc_1[AI_CLF_SVC_IN_1_SIZE_BYTES];
ai_i8* data_ins_rf[AI_CLF_RF_IN_NUM] = {ins_rf_1};
ai_i8* data_ins_svc[AI_CLF_SVC_IN_NUM] = {ins_svc_1};

AI_ALIGNED(4) ai_i8 outs_rf_1[AI_CLF_RF_OUT_1_SIZE_BYTES];
AI_ALIGNED(16) ai_i8 outs_rf_2[AI_CLF_RF_OUT_2_SIZE_BYTES];
ai_i8* data_outs_rf[AI_CLF_RF_OUT_NUM] = {outs_rf_1, outs_rf_2};

AI_ALIGNED(4) ai_i8 outs_svc_1[AI_CLF_SVC_OUT_1_SIZE_BYTES];
AI_ALIGNED(16) ai_i8 outs_svc_2[AI_CLF_SVC_OUT_2_SIZE_BYTES];
ai_i8* data_outs_svc[AI_CLF_SVC_OUT_NUM] = {outs_svc_1, outs_svc_2};

float data_outs_rf_float[N_FUNC_GROUPS];
float data_outs_svc_float[N_FUNC_GROUPS];
float data_outs_xgb_float[N_FUNC_GROUPS];

/* Activations buffers -------------------------------------------------------*/
AI_ALIGNED(32) uint8_t pool0[AI_CH450_DATA_ACTIVATION_1_SIZE];
AI_ALIGNED(32) static uint8_t pool1[AI_CH475_DATA_ACTIVATION_1_SIZE];
AI_ALIGNED(32) static uint8_t pool2[AI_CH515_DATA_ACTIVATION_1_SIZE];
AI_ALIGNED(32) static uint8_t pool3[AI_CH550_DATA_ACTIVATION_1_SIZE];
AI_ALIGNED(32) static uint8_t pool4[AI_CH555_DATA_ACTIVATION_1_SIZE];
AI_ALIGNED(32) static uint8_t pool5[AI_CH600_DATA_ACTIVATION_1_SIZE];
AI_ALIGNED(32) static uint8_t pool6[AI_CH640_DATA_ACTIVATION_1_SIZE];
AI_ALIGNED(32) static uint8_t pool7[AI_CH690_DATA_ACTIVATION_1_SIZE];
AI_ALIGNED(32) static uint8_t pool8[AI_CLF_RF_DATA_ACTIVATION_1_SIZE];
AI_ALIGNED(32) static uint8_t pool9[AI_CLF_SVC_DATA_ACTIVATION_1_SIZE];

ai_handle ch450_act_addr[] = {pool0};
ai_handle ch475_act_addr[] = {pool1};
ai_handle ch515_act_addr[] = {pool2};
ai_handle ch550_act_addr[] = {pool3};
ai_handle ch555_act_addr[] = {pool4};
ai_handle ch600_act_addr[] = {pool5};
ai_handle ch640_act_addr[] = {pool6};
ai_handle ch690_act_addr[] = {pool7};
ai_handle clf_rf_act_addr[] = {pool8};
ai_handle clf_svc_act_addr[] = {pool9};

/* AI objects ----------------------------------------------------------------*/

ai_handle ch450 = AI_HANDLE_NULL;
ai_handle ch475 = AI_HANDLE_NULL;
ai_handle ch515 = AI_HANDLE_NULL;
ai_handle ch550 = AI_HANDLE_NULL;
ai_handle ch555 = AI_HANDLE_NULL;
ai_handle ch600 = AI_HANDLE_NULL;
ai_handle ch640 = AI_HANDLE_NULL;
ai_handle ch690 = AI_HANDLE_NULL;
ai_handle clf_rf = AI_HANDLE_NULL;
ai_handle clf_svc = AI_HANDLE_NULL;

ai_buffer* ai_input_ch450;
ai_buffer* ai_output_ch450;
ai_buffer* ai_input_ch475;
ai_buffer* ai_output_ch475;
ai_buffer* ai_input_ch515;
ai_buffer* ai_output_ch515;
ai_buffer* ai_input_ch550;
ai_buffer* ai_output_ch550;
ai_buffer* ai_input_ch555;
ai_buffer* ai_output_ch555;
ai_buffer* ai_input_ch600;
ai_buffer* ai_output_ch600;
ai_buffer* ai_input_ch640;
ai_buffer* ai_output_ch640;
ai_buffer* ai_input_ch690;
ai_buffer* ai_output_ch690;
ai_buffer* ai_input_clf_rf;
ai_buffer* ai_output_clf_rf;
ai_buffer* ai_input_clf_svc;
ai_buffer* ai_output_clf_svc;

/* Program variables ---------------------------------------------------------*/

uint64_t runtimes_calib_sum[8] = {0, 0, 0, 0, 0, 0, 0, 0};
float runtimes_calib_avg[8] = {0.0, 0.0, 0.0, 0.0, 0.0, 0.0, 0.0, 0.0};
uint64_t runtimes_clf_sum[3] = {0, 0, 0};
float runtimes_clf_avg[3] = {0.0, 0.0, 0.0};
uint64_t runtimes_ALL_sum = 0;
float runtimes_ALL = 0.0;

ai_i32 batch;
ai_error ai_err;
uint32_t timestamp;
uint32_t OVERALL_start;
uint32_t elapsed;
// float uncalib_spectrum[8];
// float calib_spectrum[8];
int func_group;
/* USER CODE END PV */

void SystemClock_Config(void);

int main(void)
{

  /* MCU Configuration--------------------------------------------------------*/

  /* Reset of all peripherals, Initializes the Flash interface and the Systick. */
  HAL_Init();

  /* Configure the system clock */
  SystemClock_Config();

  /* Initialize all configured peripherals */
  MX_GPIO_Init();
  MX_TIM11_Init();
  /* USER CODE BEGIN 2 */
  MX_USART2_UART_Init();
  UART_printf("\r\nValidation --  Calibration and Classifier Models\r\n\n");

  ai_bootstrap();
  if (ai_err.type != AI_ERROR_NONE) {
    ai_log_err(ai_err, "ai_bootstrap()");
  }

  // print header
  UART_printf("450nm,475nm,515nm,550nm,555nm,600nm,640nm,690nm,rf,svc,xgb\r\n");
  for (int i=0; i < N_SAMPLES; i++) {
    htim11.Instance->CNT = 0;
	HAL_TIM_Base_Start(&htim11);
    OVERALL_start = htim11.Instance->CNT;
    get_data(i);
    ai_run_calib();
    ai_run_clf();
    elapsed = htim11.Instance->CNT - OVERALL_start;
    if (OVERALL_start >  htim11.Instance->CNT) {
      elapsed = OVERALL_start - (65535 - elapsed);
    }
    runtimes_ALL_sum += elapsed;

    HAL_TIM_Base_Stop(&htim11);

    // print results
     for (int n=0; n < N_CHANNELS; n++) {
       UART_printf("%.10f,", *data_outs[n]);
     }
     UART_printf("%u,", get_category(data_outs_rf_float));
     UART_printf("%u,", get_category(data_outs_svc_float));
     UART_printf("%u\r\n", get_category(data_outs_xgb_float));
  }

  // process runtimes
  for (int i=0; i < N_CHANNELS; i++) {
    runtimes_calib_avg[i] = ((float)runtimes_calib_sum[i])/N_SAMPLES;
  }
  for (int i=0; i < 3; i++) {
    runtimes_clf_avg[i] = ((float)runtimes_clf_sum[i])/N_SAMPLES;
  }
  runtimes_ALL = ((float)runtimes_ALL_sum)/N_SAMPLES;

  UART_printf("\r\nDONE. Average runtimes:\r\n");
  UART_printf("  450nm: %.2f usec\r\n", runtimes_calib_avg[0]);
  UART_printf("  475nm: %.2f usec\r\n", runtimes_calib_avg[1]);
  UART_printf("  515nm: %.2f usec\r\n", runtimes_calib_avg[2]);
  UART_printf("  550nm: %.2f usec\r\n", runtimes_calib_avg[3]);
  UART_printf("  555nm: %.2f usec\r\n", runtimes_calib_avg[4]);
  UART_printf("  600nm: %.2f usec\r\n", runtimes_calib_avg[5]);
  UART_printf("  640nm: %.2f usec\r\n", runtimes_calib_avg[6]);
  UART_printf("  690nm: %.2f usec\r\n", runtimes_calib_avg[7]);
  UART_printf("     RF: %.2f usec\r\n", runtimes_clf_avg[0]);
  UART_printf("    SVC: %.2f usec\r\n", runtimes_clf_avg[1]);
  UART_printf("    XGB: %.2f usec\r\n", runtimes_clf_avg[2]);
  UART_printf("OVERALL: %.2f usec\r\n", runtimes_ALL);

  /* USER CODE END 2 */

  /* Infinite loop */
  while (1)
  {

  }
}

void SystemClock_Config(void)
{
  RCC_OscInitTypeDef RCC_OscInitStruct = {0};
  RCC_ClkInitTypeDef RCC_ClkInitStruct = {0};

  /** Configure the main internal regulator output voltage
  */
  __HAL_RCC_PWR_CLK_ENABLE();
  __HAL_PWR_VOLTAGESCALING_CONFIG(PWR_REGULATOR_VOLTAGE_SCALE1);

  /** Initializes the RCC Oscillators according to the specified parameters
  * in the RCC_OscInitTypeDef structure.
  */
  RCC_OscInitStruct.OscillatorType = RCC_OSCILLATORTYPE_HSI;
  RCC_OscInitStruct.HSIState = RCC_HSI_ON;
  RCC_OscInitStruct.HSICalibrationValue = RCC_HSICALIBRATION_DEFAULT;
  RCC_OscInitStruct.PLL.PLLState = RCC_PLL_ON;
  RCC_OscInitStruct.PLL.PLLSource = RCC_PLLSOURCE_HSI;
  RCC_OscInitStruct.PLL.PLLM = 8;
  RCC_OscInitStruct.PLL.PLLN = 100;
  RCC_OscInitStruct.PLL.PLLP = RCC_PLLP_DIV2;
  RCC_OscInitStruct.PLL.PLLQ = 7;
  if (HAL_RCC_OscConfig(&RCC_OscInitStruct) != HAL_OK)
  {
    Error_Handler();
  }

  /** Initializes the CPU, AHB and APB buses clocks
  */
  RCC_ClkInitStruct.ClockType = RCC_CLOCKTYPE_HCLK|RCC_CLOCKTYPE_SYSCLK
                              |RCC_CLOCKTYPE_PCLK1|RCC_CLOCKTYPE_PCLK2;
  RCC_ClkInitStruct.SYSCLKSource = RCC_SYSCLKSOURCE_PLLCLK;
  RCC_ClkInitStruct.AHBCLKDivider = RCC_SYSCLK_DIV1;
  RCC_ClkInitStruct.APB1CLKDivider = RCC_HCLK_DIV2;
  RCC_ClkInitStruct.APB2CLKDivider = RCC_HCLK_DIV1;

  if (HAL_RCC_ClockConfig(&RCC_ClkInitStruct, FLASH_LATENCY_3) != HAL_OK)
  {
    Error_Handler();
  }
}

/* USER CODE BEGIN 4 */
void UART_printf(char *format, ...) {
	char buffer[256];
	va_list args;
	va_start(args, format);
	vsnprintf(buffer, sizeof(buffer), format, args);
	va_end(args);
	HAL_UART_Transmit(&huart2, (uint8_t *)buffer, strlen(buffer), 1000);
}

void ai_log_err(ai_error err, char *fct)
{
  if (fct)
    UART_printf("AI Error (%s) - type=0x%02x code=0x%02x\r\n", fct,
        err.type, err.code);
  else
    UART_printf("AI Error - type=0x%02x code=0x%02x\r\n", err.type, err.code);

  do {} while (1);
}

int ai_bootstrap(void) {
  UART_printf("Executing ai_bootstrap()\r\n");

  char* err_msg;
  ai_err = ai_ch450_create_and_init(&ch450, ch450_act_addr, NULL);
  if (ai_err.type != AI_ERROR_NONE) {err_msg = "ai_ch450_create_and_init";}
  ai_err = ai_ch475_create_and_init(&ch475, ch475_act_addr, NULL);
  if (ai_err.type != AI_ERROR_NONE) {err_msg = "ai_ch475_create_and_init";}
  ai_err = ai_ch515_create_and_init(&ch515, ch515_act_addr, NULL);
  if (ai_err.type != AI_ERROR_NONE) {err_msg = "ai_ch515_create_and_init";}
  ai_err = ai_ch550_create_and_init(&ch550, ch550_act_addr, NULL);
  if (ai_err.type != AI_ERROR_NONE) {err_msg = "ai_ch550_create_and_init";}
  ai_err = ai_ch555_create_and_init(&ch555, ch555_act_addr, NULL);
  if (ai_err.type != AI_ERROR_NONE) {err_msg = "ai_ch555_create_and_init";}
  ai_err = ai_ch600_create_and_init(&ch600, ch600_act_addr, NULL);
  if (ai_err.type != AI_ERROR_NONE) {err_msg = "ai_ch600_create_and_init";}
  ai_err = ai_ch640_create_and_init(&ch640, ch640_act_addr, NULL);
  if (ai_err.type != AI_ERROR_NONE) {err_msg = "ai_ch640_create_and_init";}
  ai_err = ai_ch690_create_and_init(&ch690, ch690_act_addr, NULL);
  if (ai_err.type != AI_ERROR_NONE) {err_msg = "ai_ch690_create_and_init";}
  ai_err = ai_clf_rf_create_and_init(&clf_rf, clf_rf_act_addr, NULL);
  if (ai_err.type != AI_ERROR_NONE) {err_msg = "ai_clf_rf_create_and_init";}
  ai_err = ai_clf_svc_create_and_init(&clf_svc, clf_svc_act_addr, NULL);
  if (ai_err.type != AI_ERROR_NONE) {err_msg = "ai_clf_svc_create_and_init";}

  if (ai_err.type != AI_ERROR_NONE) {
    UART_printf("1. (FAIL) Creation of model instances\r\n");
    ai_log_err(ai_err, err_msg);
    return -1;
  } else {
	  // UART_printf("1. (SUMAKSES) Creation of ALL model instances\r\n");
  }

  ai_input_ch450 = ai_ch450_inputs_get(ch450, NULL);
  ai_output_ch450 = ai_ch450_outputs_get(ch450, NULL);
  ai_input_ch475 = ai_ch475_inputs_get(ch475, NULL);
  ai_output_ch475 = ai_ch475_outputs_get(ch475, NULL);
  ai_input_ch515 = ai_ch515_inputs_get(ch515, NULL);
  ai_output_ch515 = ai_ch515_outputs_get(ch515, NULL);
  ai_input_ch550 = ai_ch550_inputs_get(ch550, NULL);
  ai_output_ch550 = ai_ch550_outputs_get(ch550, NULL);
  ai_input_ch555 = ai_ch555_inputs_get(ch555, NULL);
  ai_output_ch555 = ai_ch555_outputs_get(ch555, NULL);
  ai_input_ch600 = ai_ch600_inputs_get(ch600, NULL);
  ai_output_ch600 = ai_ch600_outputs_get(ch600, NULL);
  ai_input_ch640 = ai_ch640_inputs_get(ch640, NULL);
  ai_output_ch640 = ai_ch640_outputs_get(ch640, NULL);
  ai_input_ch690 = ai_ch690_inputs_get(ch690, NULL);
  ai_output_ch690 = ai_ch690_outputs_get(ch690, NULL);
  ai_input_clf_rf = ai_clf_rf_inputs_get(clf_rf, NULL);
  ai_output_clf_rf = ai_clf_rf_outputs_get(clf_rf, NULL);
  ai_input_clf_svc = ai_clf_svc_inputs_get(clf_svc, NULL);
  ai_output_clf_svc = ai_clf_svc_outputs_get(clf_svc, NULL);

  // UART_printf("2. (SUMAKSES) Allocating input & output data storage\r\n");

  data_ins[0] = (*ai_input_ch450).data;
  data_outs[0] = (*ai_output_ch450).data;
  data_ins[1] = (*ai_input_ch475).data;
  data_outs[1] = (*ai_output_ch475).data;
  data_ins[2] = (*ai_input_ch515).data;
  data_outs[2] = (*ai_output_ch515).data;
  data_ins[3] = (*ai_input_ch550).data;
  data_outs[3] = (*ai_output_ch550).data;
  data_ins[4] = (*ai_input_ch555).data;
  data_outs[4] = (*ai_output_ch555).data;
  data_ins[5] = (*ai_input_ch600).data;
  data_outs[5] = (*ai_output_ch600).data;
  data_ins[6] = (*ai_input_ch640).data;
  data_outs[6] = (*ai_output_ch640).data;
  data_ins[7] = (*ai_input_ch690).data;
  data_outs[7] = (*ai_output_ch690).data;
  data_ins_rf[0] = ai_input_clf_rf[0].data;
  data_ins_svc[0] = ai_input_clf_svc[0].data;
  ai_output_clf_rf[0].data = AI_HANDLE_PTR(data_outs_rf[0]);
  ai_output_clf_rf[1].data = AI_HANDLE_PTR(data_outs_rf[1]);
  ai_output_clf_svc[0].data = AI_HANDLE_PTR(data_outs_svc[0]);
  ai_output_clf_svc[1].data = AI_HANDLE_PTR(data_outs_svc[1]);

  // UART_printf("3. (SUMAKSES) Pointing of global variables to model in/out buffers\r\n");
  // UART_printf("End of ai_bootstrap()\r\n\n");

  return 0;
}

int get_data(int idx) {
  if (idx > N_SAMPLES-1) {
    UART_printf("\r\nERROR: Index out of bounds. Please input index < 315\r\n");
    return -1;
  }
  for (int i=0; i < N_CHANNELS; i++) {
    *data_ins[i] = (ai_float) input_data_f[(idx*8) + i];
  }

  return 0;
}

int ai_run_calib(void) {
  // UART_printf("Running Calibration models\r\n");
  char* err_msg = "";

  // HAL_TIM_Base_Start(&htim11);
  // uint32_t time_start = htim11.Instance->CNT;

  timestamp = htim11.Instance->CNT;
  batch = ai_ch450_run(ch450, ai_input_ch450, ai_output_ch450);
  runtimes_calib_sum[0] += htim11.Instance->CNT - timestamp;
  if (batch <= 0) { err_msg = "ai_ch450_run"; }

  timestamp = htim11.Instance->CNT;
  batch = ai_ch475_run(ch475, ai_input_ch475, ai_output_ch475);
  runtimes_calib_sum[1] += htim11.Instance->CNT - timestamp;
  if (batch <= 0) { err_msg = "ai_ch475_run"; }

  timestamp = htim11.Instance->CNT;
  batch = ai_ch515_run(ch450, ai_input_ch515, ai_output_ch515);
  runtimes_calib_sum[2] += htim11.Instance->CNT - timestamp;
  if (batch <= 0) { err_msg = "ai_ch515_run"; }

  timestamp = htim11.Instance->CNT;
  batch = ai_ch550_run(ch450, ai_input_ch550, ai_output_ch550);
  runtimes_calib_sum[3] += htim11.Instance->CNT - timestamp;
  if (batch <= 0) { err_msg = "ai_ch550_run"; }

  timestamp = htim11.Instance->CNT;
  batch = ai_ch555_run(ch450, ai_input_ch555, ai_output_ch555);
  runtimes_calib_sum[4] += htim11.Instance->CNT - timestamp;
  if (batch <= 0) { err_msg = "ai_ch555_run"; }

  timestamp = htim11.Instance->CNT;
  batch = ai_ch600_run(ch450, ai_input_ch600, ai_output_ch600);
  runtimes_calib_sum[5] += htim11.Instance->CNT - timestamp;
  if (batch <= 0) { err_msg = "ai_ch600_run"; }

  timestamp = htim11.Instance->CNT;
  batch = ai_ch640_run(ch450, ai_input_ch640, ai_output_ch640);
  runtimes_calib_sum[6] += htim11.Instance->CNT - timestamp;
  if (batch <= 0) { err_msg = "ai_ch640_run"; }

  timestamp = htim11.Instance->CNT;
  batch = ai_ch690_run(ch450, ai_input_ch690, ai_output_ch690);
  runtimes_calib_sum[7] += htim11.Instance->CNT - timestamp;
  if (batch <= 0) { err_msg = "ai_ch690_run"; }

  // elapsed = htim11.Instance->CNT - time_start;
//  HAL_TIM_Base_Stop(&htim11);
  if (strlen(err_msg) > 1) {
    UART_printf("1. (FAIL) Calibration model/s failed :((\r\n");
    UART_printf("Failure at %s\r\n", err_msg);
    return -1;
  }

  // UART_printf("1. (SUMAKSES) Calibration successful (TIME: %i microseconds)\r\n", elapsed);
  // UART_printf("idx        input       output   time\r\n");
  // for (int i=0; i < N_CHANNELS; i++) {
  //   UART_printf(" %i  %.10f %.10f %4ius\r\n", i, *data_ins[i], *data_outs[i], runtimes_calib_sum[i]);
  // }

  return 0;
}

int ai_run_clf(void) {

//  HAL_TIM_Base_Start(&htim11);
//  for (int i=0; i < N_CHANNELS; i++) {
//	((float*)data_ins_rf)[i] = *data_outs[i];
//	((float*)data_ins_svc)[i] = *data_outs[i];
//  }
  memcpy(data_ins_rf[0], data_outs[0], 32);
  memcpy(data_ins_svc[0], data_outs[0], 32);

  timestamp = htim11.Instance->CNT;
  batch = ai_clf_rf_run(clf_rf, ai_input_clf_rf, ai_output_clf_rf);
  elapsed = htim11.Instance->CNT - timestamp;
  if (timestamp >  htim11.Instance->CNT) {
    elapsed = timestamp - (65535 - elapsed);
  }
  runtimes_clf_sum[0] += elapsed;
  if (batch <= 0) {
    UART_printf("RF Classification inference failed :((\r\n");
    ai_log_err(ai_clf_rf_get_error(clf_rf), "ai_clf_rf_run");
  }

  memcpy(&data_outs_rf_float[0], data_outs_rf[1], 4);
  memcpy(&data_outs_rf_float[1], data_outs_rf[1]+4, 4);
  memcpy(&data_outs_rf_float[2], data_outs_rf[1]+8, 4);
  // UART_printf("Output 2: %.10f %.10f %.10f\r\n", data_outs_rf_float[0], data_outs_rf_float[1], data_outs_rf_float[2]);
  // UART_printf("Func Grp: %u\r\n", get_category(data_outs_rf_float));

  timestamp = htim11.Instance->CNT;
  batch = ai_clf_svc_run(clf_svc, ai_input_clf_svc, ai_output_clf_svc);
  elapsed = htim11.Instance->CNT - timestamp;
  if (timestamp >  htim11.Instance->CNT) {
    elapsed = timestamp - (65535 - elapsed);
  }
  runtimes_clf_sum[1] += elapsed;
  if (batch <= 0) {
    UART_printf("SVC Classification inference failed :((\r\n");
    ai_log_err(ai_clf_svc_get_error(clf_svc), "ai_clf_svc_run");
  }

  memcpy(&data_outs_svc_float[0], data_outs_rf[1], 4);
  memcpy(&data_outs_svc_float[1], data_outs_rf[1]+4, 4);
  memcpy(&data_outs_svc_float[2], data_outs_rf[1]+8, 4);
  // UART_printf("Output 2: %.10f %.10f %.10f\r\n", data_outs_svc_float[0], data_outs_svc_float[1], data_outs_svc_float[2]);
  // UART_printf("Func Grp: %u\r\n", get_category(data_outs_svc_float));

  timestamp = htim11.Instance->CNT;
  ai_clf_xgb_run((float*)data_outs[0], &data_outs_xgb_float[0]);
  elapsed = htim11.Instance->CNT - timestamp;
  if (timestamp >  htim11.Instance->CNT) {
    elapsed = timestamp - (65535 - elapsed);
  }
  runtimes_clf_sum[2] += elapsed;
  // UART_printf("(SUMAKSES) XGB Classification successful. (TIME: %u)\r\n", elapsed);
  // UART_printf("Output 2: %.10f %.10f %.10f\r\n", data_outs_xgb_float[0], data_outs_xgb_float[1], data_outs_xgb_float[2]);
  // UART_printf("Func Grp: %u\r\n", get_category(data_outs_xgb_float));

  return 0;
}

int get_category(float model_output[N_FUNC_GROUPS]) {
  float max = model_output[0];
  int max_idx = 0;

  for (int i=0; i < N_FUNC_GROUPS; i++) {
    if (model_output[i] > max) {
      max = model_output[i];
      max_idx = i;
    }
  }

  return max_idx;
}

/* USER CODE END 4 */

void Error_Handler(void)
{
  __disable_irq();
  while (1)
  {
  }
}
